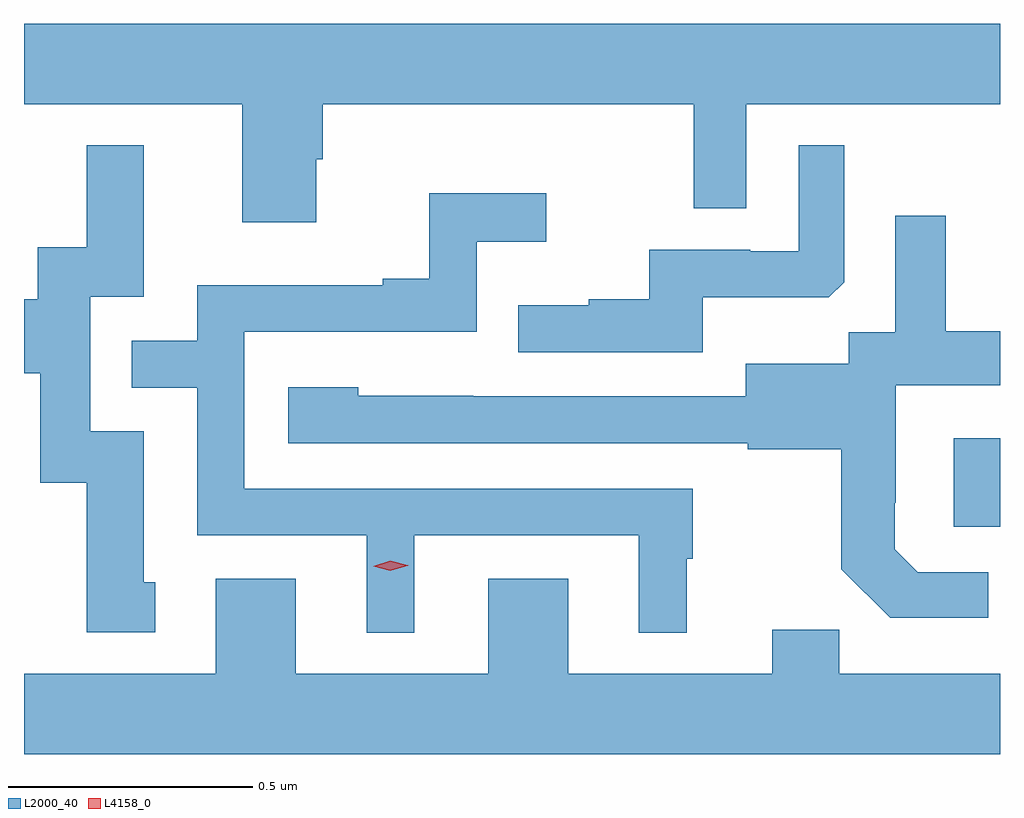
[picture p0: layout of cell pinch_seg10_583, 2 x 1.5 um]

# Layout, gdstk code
import gdstk
lib = gdstk.Library(unit=1e-6, precision=1e-09)
def R(c, l, rs):  # rectangles x0, y0, x1, y1
    for r in rs: c.add(gdstk.rectangle(r[:2], r[2:], *l))
def P(c, l, *ps):  # polygons
    for p in ps: c.add(gdstk.Polygon(p, *l))
L2000_40 = (2000, 40)
L4158_0 = (4158, 0)

pinch_seg10_583 = lib.new_cell('pinch_seg10_583')
R(pinch_seg10_583, L2000_40, [(300.071,1255.494,300.166,1255.675)])
P(pinch_seg10_583, L2000_40, [(298.765,1256.247),(298.778,1256.247),(298.778,1256.36),(299.538,1256.36),(299.538,1256.146),(299.646,1256.146),(299.646,1256.36),(300.166,1256.36),(300.166,1256.524),(298.166,1256.524),(298.166,1256.36),(298.613,1256.36),(298.613,1256.118),(298.765,1256.118)],
  [(298.435,1255.38),(298.411,1255.38),(298.411,1255.689),(298.302,1255.689),(298.302,1255.965),(298.411,1255.965),(298.411,1256.275),(298.295,1256.275),(298.295,1256.066),(298.194,1256.066),(298.194,1255.96),(298.166,1255.96),(298.166,1255.808),(298.199,1255.808),(298.199,1255.584),(298.295,1255.584),(298.295,1255.278),(298.435,1255.278)],
  [(299.557,1255.964),(299.815,1255.964),(299.847,1255.995),(299.847,1256.275),(299.754,1256.275),(299.754,1256.058),(299.654,1256.058),(299.654,1256.061),(299.447,1256.061),(299.447,1255.96),(299.323,1255.96),(299.323,1255.948),(299.179,1255.948),(299.179,1255.851),(299.557,1255.851)],
  [(298.966,1255.476),(299.426,1255.476),(299.426,1255.277),(299.524,1255.277),(299.524,1255.428),(299.536,1255.428),(299.536,1255.572),(298.617,1255.572),(298.617,1255.893),(299.094,1255.893),(299.094,1256.078),(299.236,1256.078),(299.236,1256.177),(298.996,1256.177),(298.996,1256.002),(298.901,1256.002),(298.901,1255.989),(298.521,1255.989),(298.521,1255.875),(298.387,1255.875),(298.387,1255.779),(298.521,1255.779),(298.521,1255.476),(298.868,1255.476),(298.868,1255.277),(298.966,1255.277)],
  [(300.142,1255.401),(299.997,1255.401),(299.95,1255.448),(299.95,1255.543),(299.952,1255.543),(299.952,1255.784),(300.166,1255.784),(300.166,1255.894),(300.055,1255.894),(300.055,1256.131),(299.951,1256.131),(299.951,1255.892),(299.856,1255.892),(299.856,1255.828),(299.645,1255.828),(299.645,1255.761),(299.087,1255.761),(299.087,1255.762),(298.851,1255.762),(298.851,1255.78),(298.707,1255.78),(298.707,1255.665),(299.649,1255.665),(299.649,1255.653),(299.841,1255.653),(299.841,1255.407),(299.941,1255.307),(300.142,1255.307)],
  [(300.166,1255.192),(299.837,1255.192),(299.837,1255.283),(299.699,1255.283),(299.699,1255.192),(299.281,1255.192),(299.281,1255.387),(299.117,1255.387),(299.117,1255.192),(298.723,1255.192),(298.723,1255.387),(298.559,1255.387),(298.559,1255.192),(298.166,1255.192),(298.166,1255.028),(300.166,1255.028)])
P(pinch_seg10_583, L4158_0, [(298.917,1255.404),(298.882,1255.413),(298.881,1255.413),(298.882,1255.413),(298.917,1255.424),(298.952,1255.415),(298.953,1255.415),(298.952,1255.414)])

lib.write_gds('pinch_seg10_583.gds')
